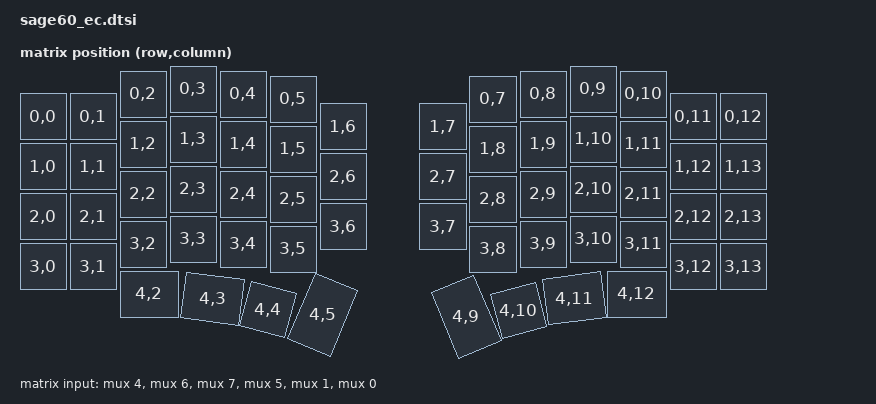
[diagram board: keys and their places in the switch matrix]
/*
 * Copyright (c) 2023 Diwamoto_
 *
 * SPDX-License-Identifier: MIT
 */

#include <zephyr/dt-bindings/dt-util.h>
#include <zephyr/dt-bindings/adc/adc.h>

#include <dt-bindings/zmk/matrix_transform.h>
#include <physical_layouts.dtsi>

/ {
    chosen {
        zmk,kscan = &matrix;
    };

    diwamoto_sage60_ec_layout: diwamoto_sage60_ec_layout {
        compatible = "zmk,physical-layout";
        display-name = "LAYOUT";

        transform = <&default_transform>;

        keys  //                     w   h    x    y     rot    rx    ry
            = <&key_physical_attrs 100 100    0   55       0     0     0> // 0  row0,col0
            , <&key_physical_attrs 100 100  100   55       0     0     0> // 1  row0,col1
            , <&key_physical_attrs 100 100  200   10       0     0     0> // 2  row0,col2
            , <&key_physical_attrs 100 100  300    0       0     0     0> // 3  row0,col3
            , <&key_physical_attrs 100 100  400   10       0     0     0> // 4  row0,col4
            , <&key_physical_attrs 100 100  500   20       0     0     0> // 5  row0,col5
            , <&key_physical_attrs 100 100 1400   55       0     0     0> // 6  row0,col11
            , <&key_physical_attrs 100 100 1300   55       0     0     0> // 7  row0,col10
            , <&key_physical_attrs 100 100 1200   10       0     0     0> // 8  row0,col9
            , <&key_physical_attrs 100 100 1100    0       0     0     0> // 9  row0,col8
            , <&key_physical_attrs 100 100 1000   10       0     0     0> // 10 row0,col7
            , <&key_physical_attrs 100 100  900   20       0     0     0> // 11 row0,col6
            , <&key_physical_attrs 100 100    0  155       0     0     0> // 12 row1,col0
            , <&key_physical_attrs 100 100  100  155       0     0     0> // 13 row1,col1
            , <&key_physical_attrs 100 100  200  110       0     0     0> // 14 row1,col2
            , <&key_physical_attrs 100 100  300  100       0     0     0> // 15 row1,col3
            , <&key_physical_attrs 100 100  400  110       0     0     0> // 16 row1,col4
            , <&key_physical_attrs 100 100  500  120       0     0     0> // 17 row1,col5
            , <&key_physical_attrs 100 100  600   75       0     0     0> // 18 row1,col6
            , <&key_physical_attrs 100 100 1400  155       0     0     0> // 19 row1,col11
            , <&key_physical_attrs 100 100 1300  155       0     0     0> // 20 row1,col10
            , <&key_physical_attrs 100 100 1200  110       0     0     0> // 21 row1,col9
            , <&key_physical_attrs 100 100 1100  100       0     0     0> // 22 row1,col8
            , <&key_physical_attrs 100 100 1000  110       0     0     0> // 23 row1,col7
            , <&key_physical_attrs 100 100  900  120       0     0     0> // 24 row1,col6
            , <&key_physical_attrs 100 100  800   75       0     0     0> // 25 row1,col7
            , <&key_physical_attrs 100 100    0  255       0     0     0> // 26 row2,col0
            , <&key_physical_attrs 100 100  100  255       0     0     0> // 27 row2,col1
            , <&key_physical_attrs 100 100  200  210       0     0     0> // 28 row2,col2
            , <&key_physical_attrs 100 100  300  200       0     0     0> // 29 row2,col3
            , <&key_physical_attrs 100 100  400  210       0     0     0> // 30 row2,col4
            , <&key_physical_attrs 100 100  500  220       0     0     0> // 31 row2,col5
            , <&key_physical_attrs 100 100  600  175       0     0     0> // 32 row2,col6
            , <&key_physical_attrs 100 100 1400  255       0     0     0> // 33 row2,col11
            , <&key_physical_attrs 100 100 1300  255       0     0     0> // 34 row2,col10
            , <&key_physical_attrs 100 100 1200  210       0     0     0> // 35 row2,col9
            , <&key_physical_attrs 100 100 1100  200       0     0     0> // 36 row2,col8
            , <&key_physical_attrs 100 100 1000  210       0     0     0> // 37 row2,col7
            , <&key_physical_attrs 100 100  900  220       0     0     0> // 38 row2,col6
            , <&key_physical_attrs 100 100  800  175       0     0     0> // 39 row2,col7
            , <&key_physical_attrs 100 100    0  355       0     0     0> // 40 row3,col0
            , <&key_physical_attrs 100 100  100  355       0     0     0> // 41 row3,col1
            , <&key_physical_attrs 100 100  200  310       0     0     0> // 42 row3,col2
            , <&key_physical_attrs 100 100  300  300       0     0     0> // 43 row3,col3
            , <&key_physical_attrs 100 100  400  310       0     0     0> // 44 row3,col4
            , <&key_physical_attrs 100 100  500  320       0     0     0> // 45 row3,col5
            , <&key_physical_attrs 100 100  600  275       0     0     0> // 46 row3,col6
            , <&key_physical_attrs 100 100 1400  355       0     0     0> // 47 row3,col11
            , <&key_physical_attrs 100 100 1300  355       0     0     0> // 48 row3,col10
            , <&key_physical_attrs 100 100 1200  310       0     0     0> // 49 row3,col9
            , <&key_physical_attrs 100 100 1100  300       0     0     0> // 50 row3,col8
            , <&key_physical_attrs 100 100 1000  310       0     0     0> // 51 row3,col7
            , <&key_physical_attrs 100 100  900  320       0     0     0> // 52 row3,col6
            , <&key_physical_attrs 100 100  800  275       0     0     0> // 53 row3,col7
            , <&key_physical_attrs 125 100  200  410       0     0     0> // 54 row4,col2
            , <&key_physical_attrs 125 100  385  365     750     0     0> // 55 row4,col3
            , <&key_physical_attrs 100 100  560  295    1500     0     0> // 56 row4,col4
            , <&key_physical_attrs 100 150  705  155    2250     0     0> // 57 row4,col5
            , <&key_physical_attrs 125 100 1175  410       0     0     0> // 58 row4,col9
            , <&key_physical_attrs 125 100  980  560  (-750)     0     0> // 59 row4,col8
            , <&key_physical_attrs 100 100  790  685 (-1500)     0     0> // 60 row4,col7
            , <&key_physical_attrs 100 150  585  735 (-2250)     0     0> // 61 row4,col8
            ;
    };

    default_transform: keymap_transform_0 {
        compatible = "zmk,matrix-transform";
        columns = <14>;
        rows = <5>;
// | SW1  | SW2  | SW3  | SW4  | SW5  | SW6  |                 | SW6  | SW5  | SW4  | SW3  | SW2  | SW1  |
// | SW7  | SW8  | SW9  | SW10 | SW11 | SW12 |                 | SW12 | SW11 | SW10 | SW9  | SW8  | SW7  |
// | SW13 | SW14 | SW15 | SW16 | SW17 | SW18 |                 | SW18 | SW17 | SW16 | SW15 | SW14 | SW13 |
// | SW19 | SW20 | SW21 | SW22 | SW23 | SW24 |                 | SW24 | SW23 | SW22 | SW21 | SW20 | SW19 |
//                      | SW25 | SW26 | SW27 | SW28 |   | SW28 | SW27 | SW26 | SW25 |
        map = <
RC(0,0) RC(0,1) RC(0,2) RC(0,3) RC(0,4) RC(0,5)                   RC(0,12) RC(0,11) RC(0,10) RC(0,9) RC(0,8) RC(0,7)
RC(1,0) RC(1,1) RC(1,2) RC(1,3) RC(1,4) RC(1,5) RC(1,6)  RC(1,13) RC(1,12) RC(1,11) RC(1,10) RC(1,9) RC(1,8) RC(1,7)
RC(2,0) RC(2,1) RC(2,2) RC(2,3) RC(2,4) RC(2,5) RC(2,6)  RC(2,13) RC(2,12) RC(2,11) RC(2,10) RC(2,9) RC(2,8) RC(2,7)
RC(3,0) RC(3,1) RC(3,2) RC(3,3) RC(3,4) RC(3,5) RC(3,6)  RC(3,13) RC(3,12) RC(3,11) RC(3,10) RC(3,9) RC(3,8) RC(3,7)
                RC(4,2) RC(4,3) RC(4,4) RC(4,5)                   RC(4,12) RC(4,11) RC(4,10) RC(4,9)
        >;
    };

    mux: mux {
		compatible = "zmk,gpio-mux";
		select-gpios
			= <&xiao_d 4 GPIO_ACTIVE_HIGH>,       /* D4 */
            <&xiao_d 5 GPIO_ACTIVE_HIGH>,   /* D5 */
            <&xiao_d 6 GPIO_ACTIVE_HIGH>;   /* D6 */

		en-gpios = <&xiao_d 9 GPIO_ACTIVE_LOW>;

		gpio-controller;
		ngpios = <8>;
		#gpio-cells = <2>;
	};

    matrix: matrix {
		compatible = "zmk,kscan-ec-matrix";

		matrix-relax-us = <1000>;
		adc-read-settle-us = <1>;

		strobe-gpios
			= <&xiao_d 1 GPIO_ACTIVE_HIGH>,       /* D1 */
            <&xiao_d 2 GPIO_ACTIVE_HIGH>,       /* D2 */
            <&gpio0 16 GPIO_ACTIVE_HIGH>,        /* P0.16 */
            <&gpio1 0 GPIO_ACTIVE_HIGH>,        /* P1.0 */ 
            <&gpio1 10 GPIO_ACTIVE_HIGH>;        /* P1.10 */

		input-gpios
			= <&mux 4 0>
			, <&mux 6 0>
			, <&mux 7 0>
			, <&mux 5 0>
			, <&mux 1 0>
			, <&mux 0 0>
			;

		drain-gpios = <&xiao_d 3 GPIO_ACTIVE_HIGH>;
		io-channels = <&adc 1>;
        power-gpios = <&gpio0 7 GPIO_ACTIVE_HIGH>;
	    matrix-warm-up-us = <500>;
		strobe-input-masks = <
			0
			0
			0
			(BIT(0) + BIT(1) + BIT(2) + BIT(9) + BIT(10) + BIT(11))
			>;
	};
};

&adc {
    status = "okay";

    #address-cells = <1>;
    #size-cells = <0>;

    channel@1 {
        reg = <1>;
        zephyr,input-positive = <NRF_SAADC_AIN0>; /* P0.02 */
        zephyr,gain = "ADC_GAIN_1_6";
        zephyr,reference = "ADC_REF_INTERNAL";
        zephyr,acquisition-time = <ADC_ACQ_TIME(ADC_ACQ_TIME_MICROSECONDS, 3)>;
        zephyr,resolution = <8>;
    };
};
